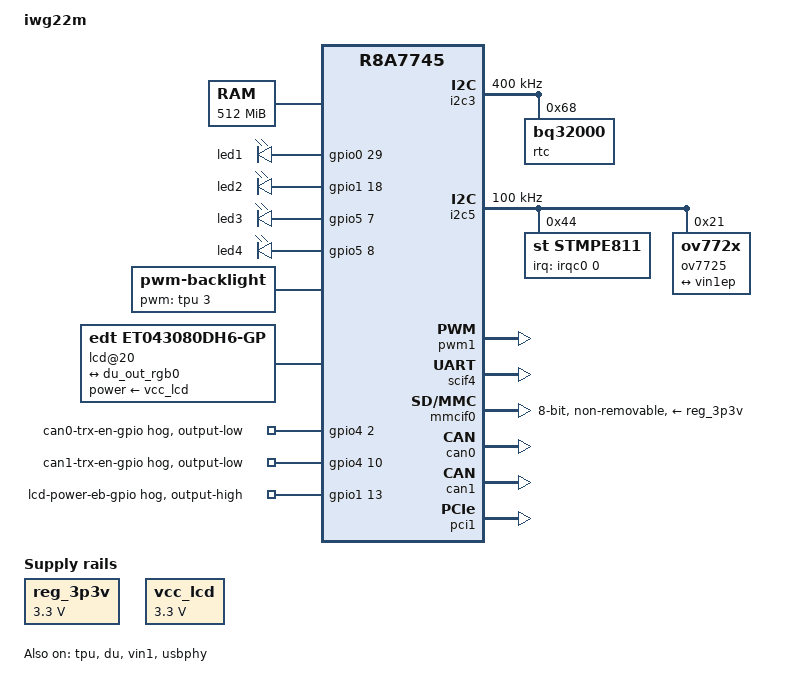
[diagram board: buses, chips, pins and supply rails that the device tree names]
/*
 * Copyright (c) 2016 iWave Systems Technologies Pvt. Ltd.
 *
 * The code contained herein is licensed under the GNU General Public
 * License. You may obtain a copy of the GNU General Public License
 * Version 2 or later at the following locations:
 *
 * http://www.opensource.org/licenses/gpl-license.html
 * http://www.gnu.org/copyleft/gpl.html
 */

/dts-v1/;
#include "r8a7745.dtsi"
#include <dt-bindings/gpio/gpio.h>
#include <dt-bindings/input/input.h>

/ {
	model = "iwg22m";
	compatible = "iw,iwg22m", "renesas,r8a7745";

	aliases {
		serial3 = &scif4;
	};

	memory@40000000 {
		device_type = "memory";
		reg = <0 0x40000000 0 0x20000000>;
	};

	leds {
		compatible = "gpio-leds";
		led1 {
			gpios = <&gpio0 29 GPIO_ACTIVE_HIGH>;
		};
		led2 {
			gpios = <&gpio1 18 GPIO_ACTIVE_HIGH>;
		};
		led3 {
			gpios = <&gpio5 7 GPIO_ACTIVE_HIGH>;
		};
		led4 {
			gpios = <&gpio5 8 GPIO_ACTIVE_HIGH>;
		};
	};

	reg_3p3v: 3p3v {
		compatible = "regulator-fixed";
		regulator-name = "3P3V";
		regulator-min-microvolt = <3300000>;
		regulator-max-microvolt = <3300000>;
		regulator-always-on;
		regulator-boot-on;
	};

	vcc_lcd: regulator@4 {
		compatible = "regulator-fixed";

		regulator-name = "panel vcc";
		regulator-min-microvolt = <3300000>;
		regulator-max-microvolt = <3300000>;
		regulator-always-on;
	};

	backlight {
		compatible = "pwm-backlight";
		pwms = <&tpu 3 5000000 GPIO_ACTIVE_LOW>;
		brightness-levels = <0 4 8 16 32 64 128 255>;
		default-brightness-level = <7>;
		pinctrl-0 = <&backlight_pins>;
		pinctrl-names = "default";
	};

	lcd@20 {
		compatible = "edt,et043080dh6-gp", "simple-panel";
		power-supply = <&vcc_lcd>;

		ports {
			#address-cells = <1>;
			#size-cells = <0>;

			port@0 {
				#address-cells = <1>;
				#size-cells = <0>;

				reg = <0>;
				lcd_in: endpoint {
					reg = <0>;
					remote-endpoint = <&du_out_rgb0>;
				};
			};

		};
	};

	x2_clk: x2-clock {
		compatible = "fixed-clock";
		#clock-cells = <0>;
		clock-frequency = <10800000>;
	};
};

&extal_clk {
	clock-frequency = <20000000>;
};

&pfc {
	scif4_pins: serial3 {
			renesas,groups = "scif4_data_b";
			renesas,function = "scif4";
	};

	mmcif0_pins: mmcif0 {
		renesas,groups = "mmc_data8", "mmc_ctrl";
		renesas,function = "mmc";
	};

	pwm1_pins: pwm1 {
		renesas,groups = "pwm1_c";
		renesas,function = "pwm1";
	};

	i2c3_pins: i2c3 {
		renesas,groups = "i2c3_b";
		renesas,function = "i2c3";
	};

	i2c5_pins: i2c5 {
		renesas,groups = "i2c5";
		renesas,function = "i2c5";
	};

	stmp_pins: stmpe811 {
		renesas,groups = "intc_irq0";
		renesas,function = "intc";
	};

	backlight_pins: backlight {
		renesas,groups = "tpu_to3";
		renesas,function = "tpu";
	};

	du0_pins: du0 {
		renesas,groups = "du0_rgb888", "du0_sync", "du0_disp",
				"du0_clk0_out";
		renesas,function = "du0";
	};

	vin1_pins: vin1 {
		renesas,groups = "vin1_data8", "vin1_sync", "vin1_clk";
		renesas,function = "vin1";
	};

	can0_pins: can0 {
		renesas,groups = "can0";
		renesas,function = "can0";
	};

	can1_pins: can1 {
		renesas,groups = "can1";
		renesas,function = "can1";
	};

};

&i2c3 {
	pinctrl-0 = <&i2c3_pins>;
	pinctrl-names = "default";

	status = "okay";
	clock-frequency = <400000>;

	rtc@68 {
		compatible = "bq32000";
		reg = <0x68>;
	};
};

&i2c5 {
	pinctrl-0 = <&i2c5_pins>;
	pinctrl-names = "default";

	status = "okay";
	clock-frequency = <100000>;

	/* STMPE811 touch screen controller */
	stmpe811@44 {
		compatible = "st,stmpe811";
		#address-cells = <1>;
		#size-cells = <0>;
		reg = <0x44>;
		interrupt-parent = <&irqc0>;
		interrupts = <0 IRQ_TYPE_LEVEL_LOW>;
		pinctrl-0 = <&stmp_pins>;
		pinctrl-names = "default";
		id = <0>;
		blocks = <0x5>;
		irq-trigger = <0x1>;

		stmpe_touchscreen {
			compatible = "st,stmpe-ts";
				reg = <0>;
				/* 3.25 MHz ADC clock speed */
				st,adc-freq = <3>;
				/* 8 sample average control */
				st,ave-ctrl = <2>;
				/* 7 length fractional part in z */
				st,fraction-z = <7>;
				/*
				* 50 mA typical 80 mA max touchscreen drivers
				* current limit value
				*/
				st,i-drive = <0>;
				/* 12-bit ADC */
				st,mod-12b = <1>;
				/* internal ADC reference */
				st,ref-sel = <0>;
				/* ADC converstion time: 80 clocks */
				st,sample-time = <4>;
				/* 1 ms panel driver settling time */
				st,settling = <3>;
				/* 5 ms touch detect interrupt delay */
				st,touch-det-delay = <4>;
		};
	};

	ov7725@21 {
		compatible = "ov772x";
		reg = <0x21>;
		remote = <&vin1>;

		port {
			ov7725: endpoint {
				bus-width = <8>;
				pclk-sample = <1>;
				remote-endpoint = <&vin1ep>;
			};
		};
	};
};

&pwm1 {
	pinctrl-0 = <&pwm1_pins>;
	pinctrl-names = "default";

	status = "okay";
};

&scif4 {
	pinctrl-0 = <&scif4_pins>;
	pinctrl-names = "default";

	status = "okay";
};

&mmcif0 {
	pinctrl-0 = <&mmcif0_pins>;
	pinctrl-names = "default";

	vmmc-supply = <&reg_3p3v>;
	vqmmc-supply = <&reg_3p3v>;
	bus-width = <8>;
	non-removable;
        mmc-rst-gpio = <&gpio3 26 GPIO_ACTIVE_HIGH>;
	status = "okay";
};

&tpu {
	status = "okay";
};

&can0 {
	pinctrl-0 = <&can0_pins>;
	pinctrl-names = "default";
	renesas,can-clock-select = <0x0>;
	status = "okay";
};

&can1 {
	pinctrl-0 = <&can1_pins>;
	pinctrl-names = "default";
	renesas,can-clock-select = <0x0>;
	status = "okay";
};

&gpio4 {
	can0-trx-en-gpio{
		gpio-hog;
		gpios = <2 GPIO_ACTIVE_HIGH>;
		output-low;
		line-name = "can0-trx-en-gpio";
	};

	can1-trx-en-gpio{
		gpio-hog;
		gpios = <10 GPIO_ACTIVE_HIGH>;
		output-low;
		line-name = "can1-trx-en-gpio";
	};
};

&gpio1 {
	lcd-power-eb-gpio{
		gpio-hog;
		gpios = <13 GPIO_ACTIVE_HIGH>;
		output-high;
		line-name = "lcd-power-eb-gpio";
	};
};

&du {
	pinctrl-0 = <&du0_pins>;
	pinctrl-names = "default";
	status = "okay";

	clocks = <&mstp7_clks R8A7745_CLK_DU0>,
		<&mstp7_clks R8A7745_CLK_DU1>,
		<&x2_clk>;
	clock-names = "du.0","du.1","dclkin.0";

	ports {
		port@0 {
			endpoint {
				remote-endpoint = <&lcd_in>;
			};
		};
	};
};

&vin1 {
	status = "okay";
	pinctrl-0 = <&vin1_pins>;
	pinctrl-names = "default";

	port {
		#address-cells = <1>;
		#size-cells = <0>;

		vin1ep: endpoint {
			remote-endpoint = <&ov7725>;
			bus-width = <8>;
		};
	};
};

&usbphy {
       status = "okay";
};

&pci1 {
       status = "okay";
};
